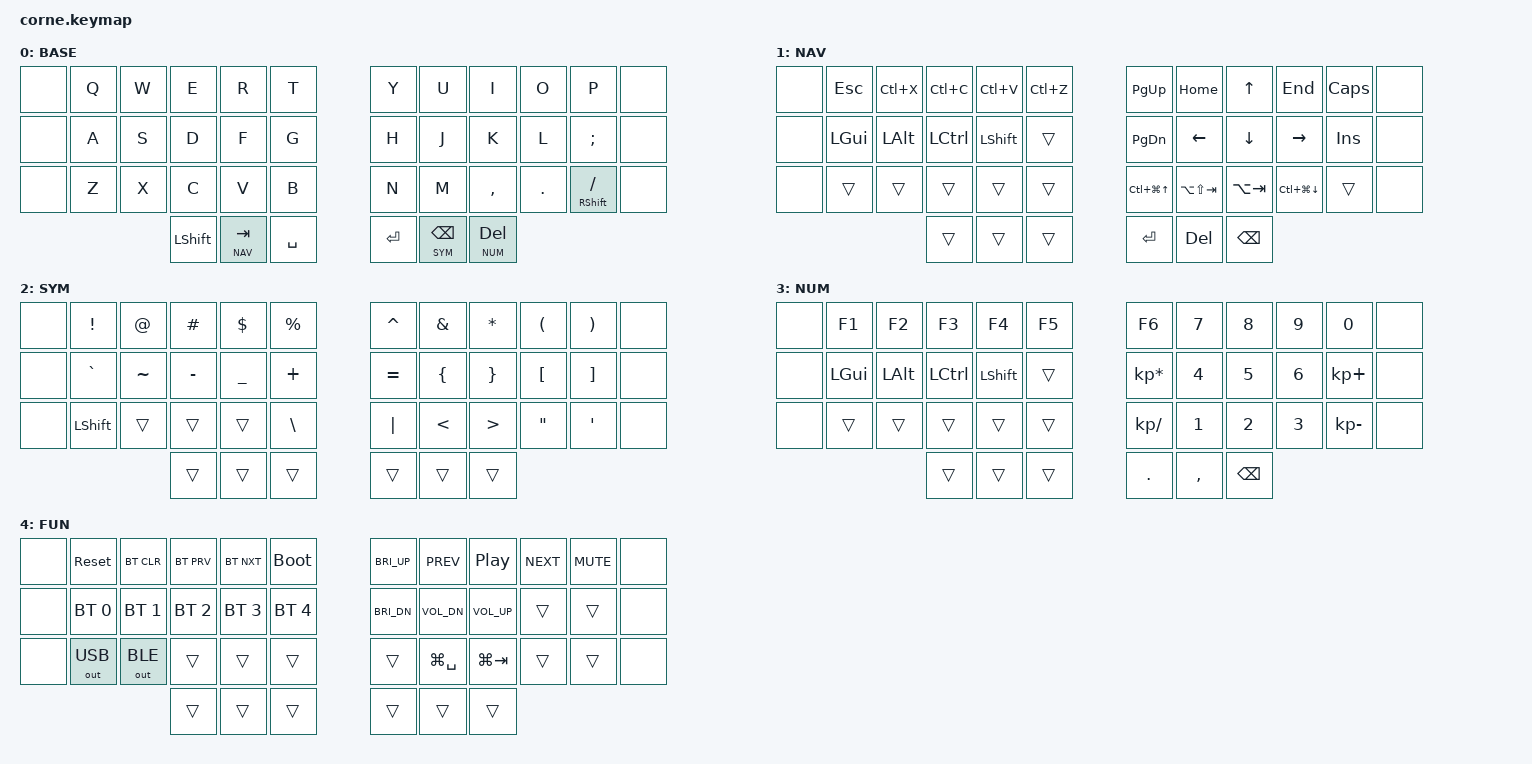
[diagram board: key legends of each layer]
/*
 * Chocofi Wireless (wired as Corne-shield) — v1 keymap for QWERTY transplant.
 *
 * Physical board is 36 keys (18 per half). The Corne shield defines 42 positions,
 * so the 6 outer-pinky positions (0, 11, 12, 23, 24, 35) are bound to &none.
 *
 * Design notes:
 *   - No home-row mods. Week-one friendly. Zero hold-tap misfires on alphas.
 *   - Shift on left-thumb (hold) and bottom-right corner via mod-tap on slash.
 *   - Thumbs run the layers: Nav (left-middle-hold), Sym (right-middle-hold),
 *     Num (right-outer-hold).
 *   - Nav + Sym held together → tri-layer FUN for Bluetooth control.
 *   - BT profiles (BT_SEL n): 0 desktop, 1 laptop, 2 Boox Note 7C, 3-4 spare.
 *
 * Corne position numbering (0-41):
 *      0   1   2   3   4   5      6   7   8   9  10  11
 *     12  13  14  15  16  17     18  19  20  21  22  23
 *     24  25  26  27  28  29     30  31  32  33  34  35
 *                     36  37  38    39  40  41
 */

#include <behaviors.dtsi>
#include <dt-bindings/zmk/keys.h>
#include <dt-bindings/zmk/bt.h>
#include <dt-bindings/zmk/outputs.h>

#define BASE 0
#define NAV  1
#define SYM  2
#define NUM  3
#define FUN  4

/ {
    conditional_layers {
        compatible = "zmk,conditional-layers";
        tri_layer {
            if-layers = <NAV SYM>;
            then-layer = <FUN>;
        };
    };

    keymap {
        compatible = "zmk,keymap";

        base_layer {
            display-name = "BASE";
            bindings = <
&none  &kp Q  &kp W  &kp E  &kp R  &kp T          &kp Y  &kp U  &kp I      &kp O    &kp P            &none
&none  &kp A  &kp S  &kp D  &kp F  &kp G          &kp H  &kp J  &kp K      &kp L    &kp SEMI         &none
&none  &kp Z  &kp X  &kp C  &kp V  &kp B          &kp N  &kp M  &kp COMMA  &kp DOT  &mt RSHFT FSLH   &none
                    &kp LSHFT  &lt NAV TAB  &kp SPACE       &kp RET  &lt SYM BSPC  &lt NUM DEL
            >;
        };

        nav_layer {
            display-name = "NAV";
            bindings = <
&none  &kp ESC    &kp LC(X)  &kp LC(C)  &kp LC(V)  &kp LC(Z)      &kp PG_UP  &kp HOME  &kp UP    &kp END    &kp CAPS  &none
&none  &kp LGUI   &kp LALT   &kp LCTRL  &kp LSHFT  &trans         &kp PG_DN  &kp LEFT  &kp DOWN  &kp RIGHT  &kp INS   &none
&none  &trans     &trans     &trans     &trans     &trans         &kp LC(LG(UP))  &kp LA(LS(TAB))  &kp LA(TAB)  &kp LC(LG(DOWN))  &trans  &none
                             &trans     &trans     &trans         &kp RET    &kp DEL   &kp BSPC
            >;
        };

        sym_layer {
            display-name = "SYM";
            bindings = <
&none  &kp EXCL   &kp AT     &kp HASH   &kp DLLR   &kp PRCNT      &kp CARET  &kp AMPS  &kp STAR  &kp LPAR  &kp RPAR  &none
&none  &kp GRAVE  &kp TILDE  &kp MINUS  &kp UNDER  &kp PLUS       &kp EQUAL  &kp LBRC  &kp RBRC  &kp LBKT  &kp RBKT  &none
&none  &kp LSHFT  &trans     &trans     &trans     &kp BSLH       &kp PIPE   &kp LT    &kp GT    &kp DQT   &kp SQT   &none
                             &trans     &trans     &trans         &trans     &trans    &trans
            >;
        };

        num_layer {
            display-name = "NUM";
            bindings = <
&none  &kp F1     &kp F2     &kp F3     &kp F4     &kp F5         &kp F6           &kp N7     &kp N8    &kp N9    &kp N0        &none
&none  &kp LGUI   &kp LALT   &kp LCTRL  &kp LSHFT  &trans         &kp KP_MULTIPLY  &kp N4     &kp N5    &kp N6    &kp KP_PLUS   &none
&none  &trans     &trans     &trans     &trans     &trans         &kp KP_DIVIDE    &kp N1     &kp N2    &kp N3    &kp KP_MINUS  &none
                             &trans     &trans     &trans         &kp DOT          &kp COMMA  &kp BSPC
            >;
        };

        fun_layer {
            display-name = "FUN";
            bindings = <
&none  &sys_reset    &bt BT_CLR    &bt BT_PRV    &bt BT_NXT    &bootloader       &kp C_BRI_UP  &kp C_PREV     &kp C_PP      &kp C_NEXT  &kp C_MUTE  &none
&none  &bt BT_SEL 0  &bt BT_SEL 1  &bt BT_SEL 2  &bt BT_SEL 3  &bt BT_SEL 4      &kp C_BRI_DN  &kp C_VOL_DN   &kp C_VOL_UP  &trans      &trans      &none
&none  &out OUT_USB  &out OUT_BLE  &trans        &trans        &trans            &trans        &kp LG(SPACE)  &kp LG(TAB)   &trans      &trans      &none
                                   &trans        &trans        &trans            &trans        &trans         &trans
            >;
        };
    };
};
